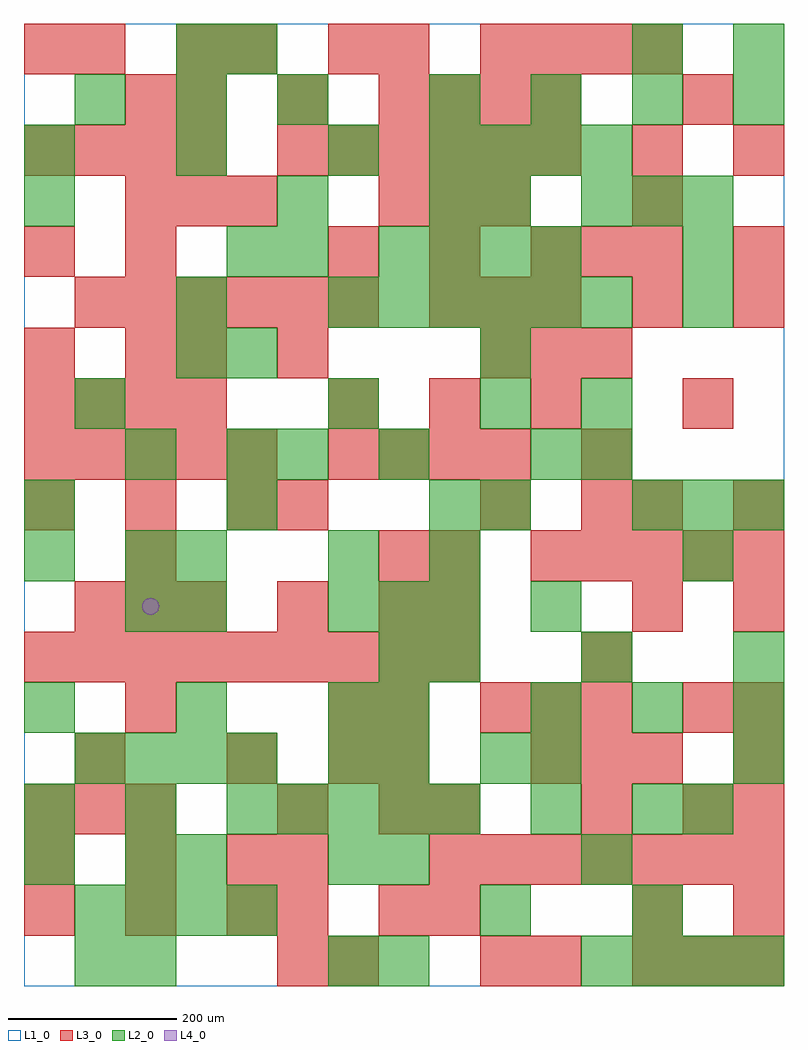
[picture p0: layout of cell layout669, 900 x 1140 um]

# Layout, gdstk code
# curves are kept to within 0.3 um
import gdstk
lib = gdstk.Library(unit=1e-6, precision=1e-09)
def R(c, l, rs):  # rectangles x0, y0, x1, y1
    for r in rs: c.add(gdstk.rectangle(r[:2], r[2:], *l))
def A(c, l, x, y, w, h, nx, ny, dx, dy):  # array of equal rectangles
    R(c, l, [(x+i*dx, y+j*dy, x+i*dx+w, y+j*dy+h) for i in range(nx) for j in range(ny)])
def P(c, l, *ps):  # polygons
    for p in ps: c.add(gdstk.Polygon(p, *l))
L1_0 = (1, 0)
L2_0 = (2, 0)
L3_0 = (3, 0)
L4_0 = (4, 0)

layout669 = lib.new_cell('layout669')
R(layout669, L1_0, [(0,0,900,1140)])
A(layout669, L2_0, 360, 0, 60, 60, 1, 3, 0, 120)
A(layout669, L2_0, 420, 0, 60, 60, 1, 3, 0, 120)
A(layout669, L2_0, 660, 0, 60, 60, 4, 1, 60, 0)
A(layout669, L2_0, 60, 60, 60, 60, 4, 2, 60, 180)
A(layout669, L2_0, 0, 180, 60, 60, 3, 1, 120, 0)
A(layout669, L2_0, 300, 180, 60, 60, 4, 1, 60, 0)
A(layout669, L2_0, 780, 180, 60, 60, 1, 3, 0, 300)
A(layout669, L2_0, 600, 240, 60, 60, 1, 3, 0, 180)
A(layout669, L2_0, 0, 300, 60, 60, 3, 2, 180, 660)
A(layout669, L2_0, 600, 300, 60, 60, 3, 1, 120, 0)
A(layout669, L2_0, 480, 360, 60, 60, 3, 1, 180, 0)
A(layout669, L2_0, 360, 420, 60, 60, 3, 1, 60, 0)
A(layout669, L2_0, 0, 540, 60, 60, 3, 1, 240, 0)
A(layout669, L2_0, 720, 540, 60, 60, 3, 1, 60, 0)
A(layout669, L2_0, 240, 600, 60, 60, 1, 3, 0, 120)
A(layout669, L2_0, 360, 780, 60, 60, 6, 1, 60, 0)
A(layout669, L2_0, 420, 840, 60, 60, 4, 1, 60, 0)
A(layout669, L2_0, 660, 900, 60, 60, 3, 1, 60, 0)
A(layout669, L2_0, 480, 960, 60, 60, 4, 1, 60, 0)
A(layout669, L2_0, 60, 1020, 60, 60, 3, 1, 120, 0)
A(layout669, L2_0, 480, 1020, 60, 60, 4, 1, 120, 0)
R(layout669, L2_0, [(60,0,120,60), (120,0,180,60), (540,60,600,120), (720,60,780,120), (0,120,60,180), (120,120,180,180), (180,120,240,180), (660,120,720,180), (600,180,660,240), (720,180,780,240), (540,240,600,300), (840,240,900,300), (420,300,480,360), (420,360,480,420), (120,420,180,480), (180,420,240,480), (0,480,60,540), (120,480,180,540), (180,480,240,540), (360,480,420,540), (480,480,540,540), (540,540,600,600), (120,600,180,660), (300,600,360,660), (420,600,480,660), (660,600,720,660), (60,660,120,720), (360,660,420,720), (540,660,600,720), (660,660,720,720), (180,720,240,780), (540,720,600,780), (180,780,240,840), (300,840,360,900), (780,840,840,900), (0,900,60,960), (300,900,360,960), (480,900,540,960), (540,900,600,960), (180,1080,240,1140), (240,1080,300,1140), (720,1080,780,1140), (840,1080,900,1140)])
A(layout669, L3_0, 300, 0, 60, 60, 1, 4, 0, 60)
A(layout669, L3_0, 720, 0, 60, 60, 3, 1, 60, 0)
A(layout669, L3_0, 0, 60, 60, 60, 3, 2, 120, 60)
A(layout669, L3_0, 480, 120, 60, 60, 7, 1, 60, 0)
A(layout669, L3_0, 0, 180, 60, 60, 3, 1, 60, 0)
A(layout669, L3_0, 420, 180, 60, 60, 1, 3, 0, 60)
A(layout669, L3_0, 660, 180, 60, 60, 1, 3, 0, 180)
A(layout669, L3_0, 840, 180, 60, 60, 1, 3, 0, 60)
A(layout669, L3_0, 600, 240, 60, 60, 3, 1, 60, 0)
A(layout669, L3_0, 540, 300, 60, 60, 3, 2, 60, 420)
A(layout669, L3_0, 780, 300, 60, 60, 1, 3, 0, 360)
A(layout669, L3_0, 0, 360, 60, 60, 9, 1, 60, 0)
A(layout669, L3_0, 60, 420, 60, 60, 3, 1, 60, 0)
A(layout669, L3_0, 600, 480, 60, 60, 5, 1, 60, 0)
A(layout669, L3_0, 0, 540, 60, 60, 3, 1, 120, 0)
A(layout669, L3_0, 0, 600, 60, 60, 5, 1, 60, 0)
A(layout669, L3_0, 360, 600, 60, 60, 4, 1, 60, 0)
A(layout669, L3_0, 0, 660, 60, 60, 4, 2, 60, 300)
A(layout669, L3_0, 360, 660, 60, 60, 3, 2, 120, 180)
A(layout669, L3_0, 60, 780, 60, 60, 6, 1, 60, 0)
A(layout669, L3_0, 480, 780, 60, 60, 3, 2, 60, 240)
A(layout669, L3_0, 720, 780, 60, 60, 1, 4, 0, 60)
A(layout669, L3_0, 120, 900, 60, 60, 3, 1, 60, 0)
A(layout669, L3_0, 420, 900, 60, 60, 3, 1, 60, 0)
A(layout669, L3_0, 300, 960, 60, 60, 6, 1, 60, 0)
A(layout669, L3_0, 180, 1020, 60, 60, 3, 1, 120, 0)
A(layout669, L3_0, 540, 1080, 60, 60, 4, 1, 60, 0)
R(layout669, L3_0, [(360,0,420,60), (540,0,600,60), (600,0,660,60), (420,60,480,120), (480,60,540,120), (720,60,780,120), (840,60,900,120), (480,180,540,240), (780,180,840,240), (60,240,120,300), (240,240,300,300), (360,240,420,300), (120,300,180,360), (360,300,420,360), (300,420,360,480), (420,420,480,480), (480,420,540,480), (720,420,780,480), (840,420,900,480), (120,480,180,540), (420,480,480,540), (480,480,540,540), (300,540,360,600), (540,540,600,600), (720,540,780,600), (840,540,900,600), (660,600,720,660), (0,720,60,780), (120,720,180,780), (180,720,240,780), (300,720,360,780), (840,780,900,840), (0,840,60,900), (120,840,180,900), (660,840,720,900), (840,840,900,900), (840,960,900,1020), (120,1020,180,1080), (0,1080,60,1140), (60,1080,120,1140), (180,1080,240,1140), (240,1080,300,1140), (360,1080,420,1140), (420,1080,480,1140)])
P(layout669, L4_0, [(160,450),(159.239,453.827),(157.071,457.071),(153.827,459.239),(150,460),(146.173,459.239),(142.929,457.071),(140.761,453.827),(140,450),(140.761,446.173),(142.929,442.929),(146.173,440.761),(150,440),(153.827,440.761),(157.071,442.929),(159.239,446.173)])

lib.write_gds('layout669.gds')
